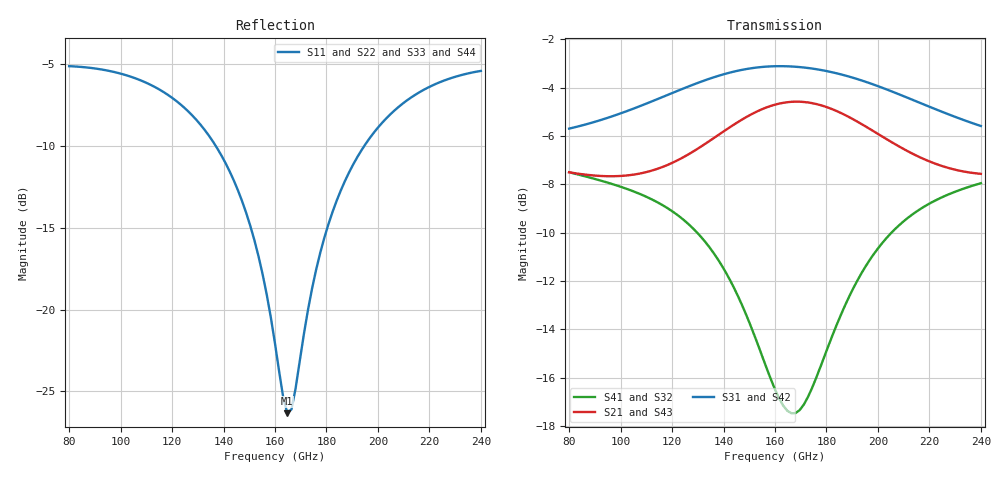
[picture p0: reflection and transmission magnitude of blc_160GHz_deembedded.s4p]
! Created with skrf 2.2.0 (http://scikit-rf.org).
# GHz S DB R 50.0
! Port[1] = P1
! Port[2] = P2
! Port[3] = P3
! Port[4] = P4
!freq dBS11 angS11 dBS12 angS12 dBS13 angS13
! dBS14 angS14
! dBS21 angS21 dBS22 angS22 dBS23 angS23
! dBS24 angS24
! dBS31 angS31 dBS32 angS32 dBS33 angS33
! dBS34 angS34
! dBS41 angS41 dBS42 angS42 dBS43 angS43
! dBS44 angS44
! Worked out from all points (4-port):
!   101 points, 80 GHz to 240 GHz, reference 50 ohm
!   strongest paths, dB at 80 GHz, 120 GHz, 160 GHz, 200 GHz, 240 GHz:
!     S31: -5.7, -4.2, -3.1, -3.9, -5.6
!     S42: -5.7, -4.2, -3.1, -3.9, -5.6
!     S21: -7.5, -7.1, -4.7, -5.9, -7.6
!     S43: -7.5, -7.1, -4.7, -5.9, -7.6
!     S41: -7.5, -9.1, -16.5, -10.7, -8.0
!     S32: -7.5, -9.1, -16.5, -10.7, -8.0
!   lowest |S11| = -26.3 dB at 164.8 GHz (marker M1), VSWR 1.10, Z = 55.1 + j0.365 ohm
!   |S11| at or under -10 dB: 137 GHz to 194.7 GHz (57.71 GHz wide, 34.8 % of centre)
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80  -5.12 159.3  -7.50 -47.4  -5.69 -78.5  -7.50 -61.1
    -7.50 -47.4  -5.12 159.3  -7.50 -61.0  -5.69 -78.5
    -5.69 -78.5  -7.50 -61.0  -5.12 159.3  -7.50 -47.4
    -7.50 -61.1  -5.69 -78.5  -7.50 -47.4  -5.12 159.3
137.6  -10.15 108.3  -5.98 -68.1  -3.52 -143.4  -11.07 -108.3
       -5.98 -68.1  -10.15 108.4  -11.06 -108.3  -3.52 -143.4
       -3.52 -143.4  -11.06 -108.3  -10.16 108.3  -5.99 -68.1
       -11.07 -108.3  -3.52 -143.4  -5.99 -68.1  -10.15 108.3
152  -15.76 84.1  -5.04 -79.8  -3.18 -163.6  -14.25 -114.5
     -5.04 -79.8  -15.76 84.2  -14.23 -114.5  -3.18 -163.5
     -3.18 -163.6  -14.23 -114.5  -15.77 84.1  -5.04 -79.8
     -14.25 -114.5  -3.18 -163.5  -5.04 -79.8  -15.75 84.1
164.8  -26.33 3.9  -4.60 -93.1  -3.11 178.1  -17.37 -97.9
       -4.60 -93.1  -26.32 4.1  -17.36 -98.0  -3.11 178.1
       -3.11 178.1  -17.36 -98.0  -26.31 3.6  -4.60 -93.1
       -17.37 -97.9  -3.11 178.1  -4.60 -93.1  -26.29 4.2
179.2  -15.59 -91.9  -4.77 -108.6  -3.29 157.7  -15.12 -71.4
       -4.77 -108.6  -15.59 -91.8  -15.13 -71.4  -3.29 157.7
       -3.29 157.7  -15.13 -71.4  -15.57 -91.9  -4.77 -108.6
       -15.12 -71.4  -3.29 157.7  -4.77 -108.6  -15.60 -91.8
192  -10.68 -112.5  -5.40 -120.4  -3.64 140.2  -11.98 -72.9
     -5.40 -120.4  -10.68 -112.4  -11.99 -72.9  -3.64 140.2
     -3.64 140.2  -11.99 -72.9  -10.67 -112.4  -5.41 -120.4
     -11.98 -72.9  -3.64 140.2  -5.41 -120.4  -10.68 -112.4
240  -5.41 -156.6  -7.56 -143.3  -5.58 84.2  -7.95 -112.9
     -7.56 -143.3  -5.41 -156.5  -7.96 -112.9  -5.58 84.2
     -5.58 84.2  -7.96 -112.9  -5.41 -156.5  -7.57 -143.3
     -7.95 -112.9  -5.58 84.2  -7.57 -143.3  -5.42 -156.6
